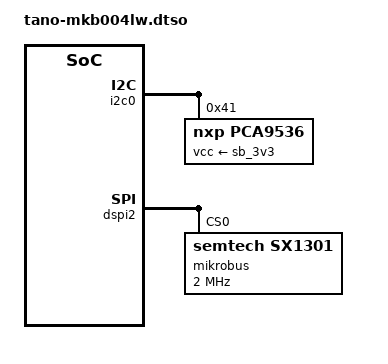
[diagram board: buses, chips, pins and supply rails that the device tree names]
// SPDX-License-Identifier: MIT
/*
 * Device Tree fragment for NXP LS1028A RDB board,
 * Tano MKB004LW mikroBUS module
 *
 * Requires a NXP LS1028A RDB board
 *
 * Copyright (c) 2021 Tano Systems LLC. All Rights Reserved.
 * Anton Kikin <a.kikin@tano-systems.com>
 */

/dts-v1/;
/plugin/;

&i2c0 {
	i2c-mux@77 {
		i2c@7 {
			#address-cells = <1>;
			#size-cells = <0>;
			reg = <0x7>;

			pca9536: pca9536@41 {
				compatible = "nxp,pca9536";
				reg = <0x41>;
				gpio-controller;
				#gpio-cells = <2>;
				ngpios = <4>;
				vcc-supply = <&sb_3v3>;
			};
		};
	};
};

&dspi2 {
	bus-num = <2>;
	status = "okay";

	mikrobus@0 {
		compatible = "semtech,sx1301";
		reg = <0>;
		spi-max-frequency = <2000000>;
		fsl,spi-cs-sck-delay = <1000000>;
		fsl,spi-sck-cs-delay = <50>;
	};
};
